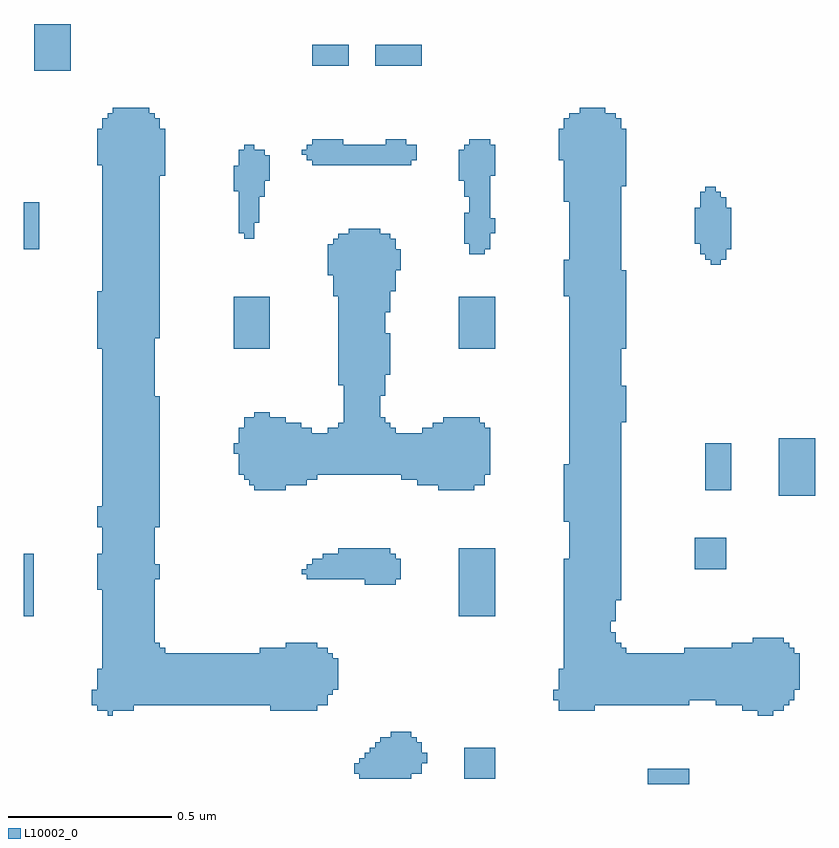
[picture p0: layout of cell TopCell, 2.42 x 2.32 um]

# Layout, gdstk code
import gdstk
lib = gdstk.Library(unit=1e-6, precision=1e-09)
def R(c, l, rs):  # rectangles x0, y0, x1, y1
    for r in rs: c.add(gdstk.rectangle(r[:2], r[2:], *l))
L10002_0 = (10002, 0)

topcell = lib.new_cell('TopCell')
R(topcell, L10002_0, [(2.928,1.024,3.055,1.071), (2.048,1.04,2.207,1.103), (2.368,1.04,2.463,1.135), (2.032,1.056,2.048,1.087), (2.207,1.056,2.223,1.167), (2.223,1.056,2.239,1.151), (2.239,1.088,2.255,1.119), (2.064,1.103,2.207,1.119), (2.08,1.119,2.207,1.135), (2.096,1.135,2.207,1.151), (2.112,1.151,2.207,1.167), (2.144,1.167,2.207,1.183), (1.28,1.232,1.295,3.071), (3.264,1.232,3.311,1.471), (1.248,1.248,1.28,1.375), (1.295,1.248,1.359,3.071), (1.776,1.248,1.919,1.439), (2.656,1.248,2.767,1.375), (3.216,1.248,3.264,1.455), (3.311,1.248,3.343,1.471), (1.232,1.264,1.248,1.311), (1.359,1.264,1.407,3.087), (1.407,1.264,1.423,3.071), (1.423,1.264,1.439,1.455), (1.439,1.264,1.455,1.439), (1.455,1.264,1.776,1.423), (1.919,1.264,1.951,1.439), (2.767,1.264,2.799,3.087), (2.799,1.264,2.815,3.071), (2.815,1.264,2.831,1.487), (2.831,1.264,2.847,1.455), (2.847,1.264,2.863,1.439), (2.863,1.264,3.055,1.423), (3.136,1.264,3.216,1.439), (3.343,1.264,3.359,1.455), (2.64,1.28,2.656,1.311), (3.055,1.28,3.136,1.439), (3.359,1.28,3.375,1.439), (1.951,1.296,1.967,1.423), (1.967,1.312,1.983,1.407), (3.375,1.312,3.391,1.423), (1.264,1.375,1.28,3.055), (2.672,1.375,2.767,1.711), (1.744,1.423,1.776,1.439), (3.04,1.423,3.055,1.439), (1.824,1.439,1.919,1.455), (3.184,1.439,3.216,1.455), (3.248,1.455,3.264,1.471), (2.815,1.52,2.831,3.071), (1.024,1.536,1.055,1.727), (2.352,1.536,2.463,1.743), (2.831,1.584,2.847,3.055), (1.248,1.616,1.264,1.727), (2.064,1.632,2.143,1.743), (2.143,1.632,2.159,1.727), (1.423,1.648,1.439,1.695), (1.888,1.648,2.064,1.695), (2.159,1.648,2.175,1.711), (1.872,1.664,1.888,1.679), (3.072,1.68,3.167,1.775), (1.904,1.695,2.064,1.711), (1.936,1.711,2.064,1.727), (2.688,1.711,2.767,3.071), (1.984,1.727,2.064,1.743), (1.248,1.808,1.264,1.871), (1.423,1.808,1.439,2.207), (2.672,1.824,2.688,1.999), (3.328,1.904,3.439,2.079), (1.728,1.92,1.775,2.159), (1.775,1.92,1.823,2.143), (2.288,1.92,2.399,2.127), (3.104,1.92,3.183,2.063), (1.712,1.936,1.728,2.143), (1.823,1.936,1.871,2.127), (1.871,1.936,1.887,2.111), (2.224,1.936,2.288,2.095), (2.399,1.936,2.415,2.143), (2.415,1.936,2.431,2.127), (1.696,1.952,1.712,2.143), (1.887,1.952,1.903,2.111), (1.903,1.952,1.919,2.095), (2.176,1.952,2.224,2.095), (1.68,1.968,1.696,2.111), (1.919,1.968,2.176,2.095), (2.431,1.968,2.447,2.111), (1.664,2.032,1.68,2.063), (1.952,2.095,2.159,2.111), (2.24,2.095,2.288,2.111), (1.984,2.111,2.143,2.127), (2.272,2.111,2.288,2.127), (2,2.127,2.111,2.703), (2.111,2.127,2.127,2.143), (2.304,2.127,2.399,2.143), (2.847,2.128,2.863,2.239), (2.111,2.208,2.127,2.703), (1.984,2.24,2,2.703), (2.127,2.272,2.143,2.399), (1.248,2.352,1.264,2.527), (1.664,2.352,1.775,2.511), (2.352,2.352,2.463,2.511), (2.847,2.352,2.863,2.591), (1.423,2.384,1.439,3.055), (2.127,2.464,2.143,2.703), (1.968,2.512,1.984,2.687), (2.672,2.512,2.688,2.623), (2.143,2.528,2.159,2.687), (1.952,2.576,1.968,2.671), (2.159,2.592,2.175,2.655), (3.12,2.608,3.135,2.847), (3.135,2.608,3.151,2.831), (3.104,2.624,3.12,2.847), (3.151,2.624,3.167,2.815), (2.384,2.64,2.431,2.991), (3.088,2.64,3.104,2.831), (1.024,2.656,1.071,2.799), (2.431,2.656,2.447,2.991), (3.167,2.656,3.183,2.783), (2.368,2.672,2.384,2.767), (3.072,2.672,3.088,2.783), (1.696,2.688,1.727,2.975), (2.016,2.703,2.111,2.719), (1.68,2.704,1.696,2.959), (2.447,2.704,2.463,2.751), (1.727,2.736,1.743,2.959), (2.672,2.8,2.688,3.055), (1.743,2.816,1.759,2.959), (2.368,2.816,2.384,2.975), (1.664,2.832,1.68,2.911), (2.847,2.848,2.863,3.023), (1.759,2.864,1.775,2.943), (2.352,2.864,2.368,2.959), (1.439,2.88,1.455,3.023), (2.447,2.88,2.463,2.975), (1.248,2.912,1.264,3.023), (1.904,2.912,1.999,2.991), (1.999,2.912,2.207,2.975), (1.888,2.928,1.904,2.975), (2.207,2.928,2.223,2.975), (2.656,2.928,2.672,3.023), (1.872,2.944,1.888,2.959), (2.128,2.975,2.191,2.991), (1.296,3.071,1.359,3.087), (2.72,3.071,2.767,3.087), (1.056,3.2,1.167,3.343), (1.904,3.216,2.015,3.279), (2.096,3.216,2.239,3.279)])

lib.write_gds('TopCell.gds')
